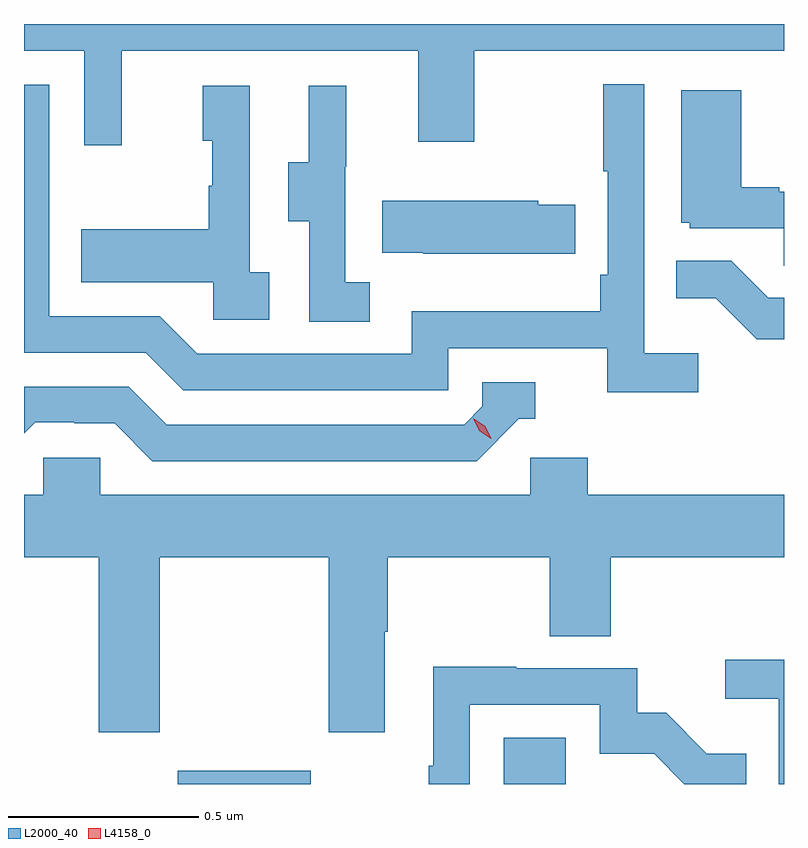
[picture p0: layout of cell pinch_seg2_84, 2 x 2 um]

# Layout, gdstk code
import gdstk
lib = gdstk.Library(unit=1e-6, precision=1e-09)
def R(c, l, rs):  # rectangles x0, y0, x1, y1
    for r in rs: c.add(gdstk.rectangle(r[:2], r[2:], *l))
def P(c, l, *ps):  # polygons
    for p in ps: c.add(gdstk.Polygon(p, *l))
L2000_40 = (2000, 40)
L4158_0 = (4158, 0)

pinch_seg2_84 = lib.new_cell('pinch_seg2_84')
R(pinch_seg2_84, L2000_40, [(1068.224,655.031,1068.574,655.066), (1069.082,655.031,1069.246,655.153)])
P(pinch_seg2_84, L2000_40, [(1068.077,656.96),(1068.857,656.96),(1068.857,656.721),(1069.005,656.721),(1069.005,656.96),(1069.82,656.96),(1069.82,657.031),(1067.82,657.031),(1067.82,656.96),(1067.979,656.96),(1067.979,656.712),(1068.077,656.712)],
  [(1069.594,656.164),(1069.452,656.164),(1069.452,656.872),(1069.344,656.872),(1069.344,656.644),(1069.356,656.644),(1069.356,656.371),(1069.336,656.371),(1069.336,656.275),(1068.84,656.275),(1068.84,656.163),(1068.276,656.163),(1068.177,656.262),(1067.886,656.262),(1067.886,656.871),(1067.82,656.871),(1067.82,656.166),(1068.14,656.166),(1068.239,656.067),(1068.936,656.067),(1068.936,656.178),(1069.355,656.178),(1069.355,656.062),(1069.594,656.062)],
  [(1068.466,656.378),(1068.414,656.378),(1068.414,656.869),(1068.29,656.869),(1068.29,656.724),(1068.316,656.724),(1068.316,656.606),(1068.306,656.606),(1068.306,656.491),(1067.971,656.491),(1067.971,656.351),(1068.318,656.351),(1068.318,656.253),(1068.466,656.253)],
  [(1068.73,656.351),(1068.666,656.351),(1068.666,656.655),(1068.668,656.655),(1068.668,656.869),(1068.569,656.869),(1068.569,656.667),(1068.515,656.667),(1068.515,656.512),(1068.57,656.512),(1068.57,656.248),(1068.73,656.248)],
  [(1069.82,656.589),(1069.808,656.589),(1069.808,656.602),(1069.708,656.602),(1069.708,656.857),(1069.55,656.857),(1069.55,656.508),(1069.572,656.508),(1069.572,656.493),(1069.819,656.493),(1069.819,656.395),(1069.82,656.395)],
  [(1069.271,656.556),(1069.173,656.556),(1069.173,656.566),(1068.763,656.566),(1068.763,656.429),(1068.871,656.429),(1068.871,656.426),(1069.271,656.426)],
  [(1069.82,656.31),(1069.779,656.31),(1069.681,656.408),(1069.537,656.408),(1069.537,656.309),(1069.641,656.309),(1069.748,656.202),(1069.82,656.202)],
  [(1069.122,655.992),(1069.165,655.992),(1069.165,656.088),(1069.026,656.088),(1069.026,656.025),(1068.978,655.977),(1068.195,655.977),(1068.096,656.076),(1067.82,656.076),(1067.82,655.954),(1067.849,655.983),(1067.952,655.983),(1067.952,655.98),(1068.059,655.98),(1068.158,655.881),(1069.011,655.881)],
  [(1068.177,655.628),(1068.622,655.628),(1068.622,655.167),(1068.769,655.167),(1068.769,655.432),(1068.777,655.432),(1068.777,655.628),(1069.204,655.628),(1069.204,655.42),(1069.364,655.42),(1069.364,655.628),(1069.82,655.628),(1069.82,655.792),(1069.304,655.792),(1069.304,655.89),(1069.152,655.89),(1069.152,655.792),(1068.021,655.792),(1068.021,655.89),(1067.871,655.89),(1067.871,655.792),(1067.82,655.792),(1067.82,655.628),(1068.017,655.628),(1068.017,655.167),(1068.177,655.167)],
  [(1069.82,655.358),(1069.665,655.358),(1069.665,655.256),(1069.806,655.256),(1069.806,655.031),(1069.82,655.031)],
  [(1068.993,655.239),(1069.335,655.239),(1069.335,655.11),(1069.479,655.11),(1069.558,655.031),(1069.721,655.031),(1069.721,655.111),(1069.617,655.111),(1069.51,655.218),(1069.434,655.218),(1069.434,655.335),(1069.115,655.335),(1069.115,655.34),(1068.897,655.34),(1068.897,655.079),(1068.885,655.079),(1068.885,655.031),(1068.993,655.031)])
P(pinch_seg2_84, L4158_0, [(1069.05,655.94),(1069.019,655.959),(1069.002,655.992),(1069.002,655.992),(1069.003,655.992),(1069.034,655.972),(1069.05,655.94),(1069.05,655.94)])

lib.write_gds('pinch_seg2_84.gds')
